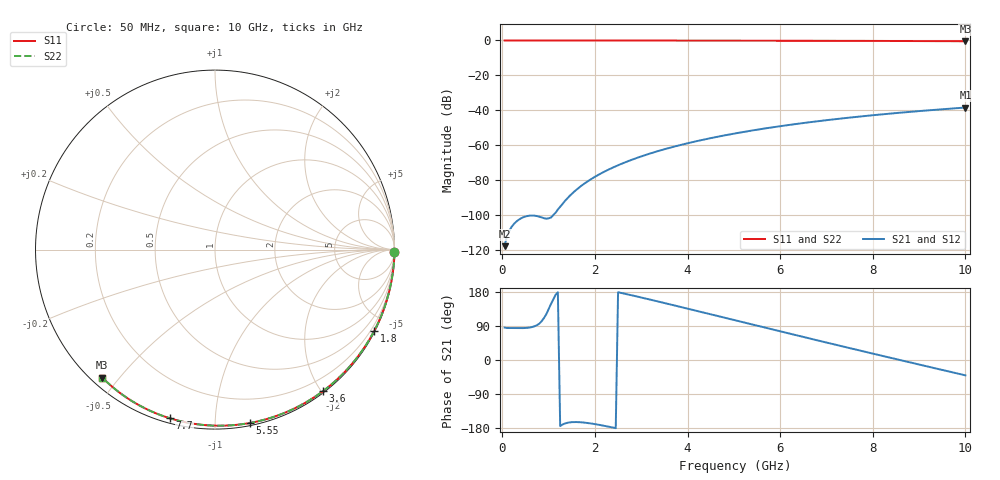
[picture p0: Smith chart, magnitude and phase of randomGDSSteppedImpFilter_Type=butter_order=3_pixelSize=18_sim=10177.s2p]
! freq	dB(S11)	phase(S11)	dB(S12)	phase(S12)
!  dB(S21)	phase(S21)	dB(S22)	phase(S22)
!S-par simulation data
#  GHz  S  DB  R 50
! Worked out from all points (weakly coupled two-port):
!   200 points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, 50 MHz to 10 GHz, reference 50 ohm
!   highest |S21| = -38.42 dB at 10 GHz (marker M1); lowest = -117.8 dB at 50 MHz (marker M2)
!   lowest |S11| = -0.4 dB at 10 GHz (marker M3), VSWR 39.15, Z = 1.54 - j22.6 ohm
!   |S11| at or under -10 dB: nowhere
!   |S22| runs from -0.4 to 0.0 dB; largest |S21 - S12| = 0
!   S11 on the Smith chart (normalised r, x): 50 MHz: open; 1.8 GHz: 0.04, -4.18; 3.6 GHz: 0.02, -2.02; 5.55 GHz: 0.02, -1.22; 7.7 GHz: 0.02, -0.77; 10 GHz: 0.03, -0.45
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0.05  -0.00 -0.8  -117.77 85.5  -117.77 85.5  -0.00 -0.8
0.9  -0.02 -13.6  -101.76 110.9  -101.76 110.9  -0.02 -13.6
1.75  -0.03 -26.2  -82.36 -164.9  -82.36 -164.9  -0.03 -26.2
1.8  -0.03 -26.9  -81.43 -165.6  -81.43 -165.6  -0.03 -26.9
1.85  -0.04 -27.7  -80.54 -166.4  -80.54 -166.4  -0.04 -27.7
1.9  -0.04 -28.4  -79.68 -167.2  -79.68 -167.2  -0.04 -28.4
2.05  -0.04 -30.6  -77.30 -170.2  -77.30 -170.2  -0.04 -30.6
2.25  -0.04 -33.5  -74.50 -174.8  -74.50 -174.8  -0.04 -33.5
2.45  -0.05 -36.4  -72.02 -179.9  -72.02 -179.9  -0.05 -36.4
2.65  -0.05 -39.3  -69.80 174.8  -69.80 174.8  -0.05 -39.3
3  -0.06 -44.2  -66.38 165.0  -66.38 165.0  -0.06 -44.2
3.4  -0.07 -49.9  -63.05 153.4  -63.05 153.4  -0.07 -49.9
3.6  -0.07 -52.6  -61.56 147.5  -61.56 147.5  -0.07 -52.6
4.3  -0.09 -62.2  -57.04 126.6  -57.04 126.6  -0.09 -62.2
5.05  -0.11 -72.2  -53.12 104.1  -53.12 104.1  -0.11 -72.2
5.55  -0.13 -78.6  -50.88 89.1  -50.88 89.1  -0.13 -78.6
6.1  -0.15 -85.6  -48.70 72.7  -48.70 72.7  -0.15 -85.6
6.7  -0.18 -93.0  -46.60 54.9  -46.60 54.9  -0.18 -93.0
7.7  -0.24 -105.0  -43.61 25.6  -43.61 25.6  -0.24 -105.0
8.35  -0.29 -112.6  -41.93 6.7  -41.93 6.7  -0.29 -112.6
9.15  -0.36 -121.8  -40.11 -16.2  -40.11 -16.2  -0.36 -121.8
10  -0.44 -131.4  -38.42 -40.5  -38.42 -40.5  -0.44 -131.4
